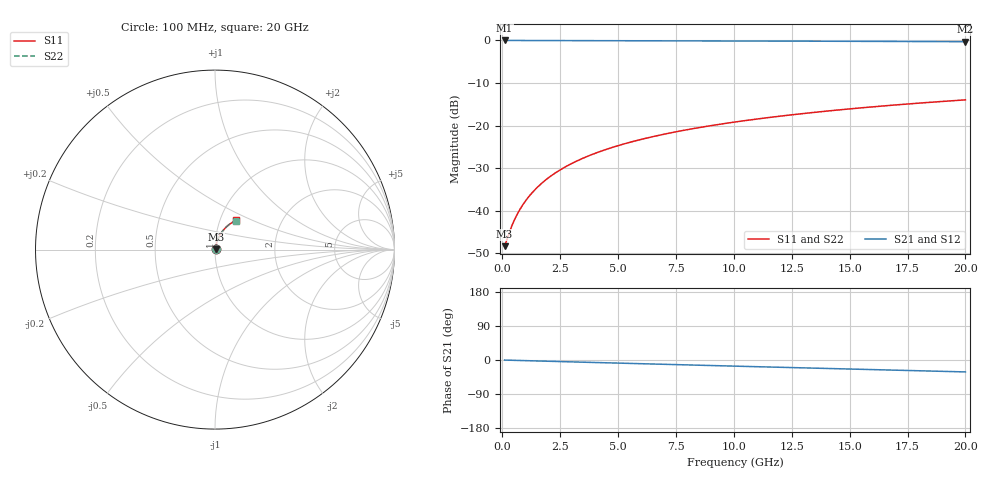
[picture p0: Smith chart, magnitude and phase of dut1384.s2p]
! Touchstone file exported from HFSS 2026.1.0
!  File:  C:/ffzhzh/LocalFiles/Ansys_Project_Files/temp_train_TMRDL_1384_1783166102_51560.aedt
!  Generated:  07:56:09 PM Jul  4, 2026
!  Design:  TMRDL
!  Project:  temp_train_TMRDL_1384_1783166102_51560
! Variables:
!  h_bsmrdl = 2um
!  h_ox = 20um
!  h_rdl = 5um
!  h_sub = 80um
!  h_tmrdl = 4.98um
!  h_tsv = 80um
!  h_via = 3um
!  l_bsmrdl = 300um
!  l_sub = 931.82um
!  l_tmrdl = 531.82um
!  m_sub = 200um
!  pitch = 20.56um
!  r_tsv = 6um
!  s_tmrdl = 10um
!  w_bsmrdl = 18um
!  w_sub = 500um
!  w_tmrdl = 10.75um
!  x_tsv_center1 = 537.195um
!  x_tsv_center2 = 855.195um
!  x_tsv_center3 = 1397.765um
!  x_tsv_center4 = 1715.765um
!  x_tsv_center5 = 2258.335um
!  x_tsv_center6 = 2576.335um
# GHz S MA R 50.000000
! Terminal data exported
! Port[1] = TM_RDL1_1_T1
! Port[2] = TM_RDL1_1_T2
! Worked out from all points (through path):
!   200 points, 100 MHz to 20 GHz, reference 50 ohm
!   highest |S21| = -0.03 dB at 100 MHz (marker M1); lowest = -0.3 dB at 20 GHz (marker M2)
!   group delay of S21, straight-line fit = 4.36 ps
!   lowest |S11| = -48.3 dB at 100 MHz (marker M3), VSWR 1.01, Z = 50.4 + j0.139 ohm
!   |S11| at or under -10 dB: start of sweep to end of sweep
!   |S22| runs from -48.3 to -14.0 dB; largest |S21 - S12| = 2.1e-15
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0.1  0.003842 21.1  0.9964 -0.2  0.9964 -0.2  0.003842 21.1
! Gamma 0 0 0 0
! Port Impedance 50 0 50 0
0.3  0.005538 45.5  0.9961 -0.5  0.9961 -0.5  0.005538 45.5
0.4  0.00654 52.0  0.996 -0.7  0.996 -0.7  0.00654 52.0
0.6  0.008625 60.2  0.9958 -1.0  0.9958 -1.0  0.008626 60.2
0.7  0.009699 63.0  0.9957 -1.2  0.9957 -1.2  0.009699 63.0
0.9  0.01189 67.1  0.9956 -1.5  0.9956 -1.5  0.01189 67.1
1.1  0.01413 69.8  0.9955 -1.9  0.9955 -1.9  0.01413 69.8
1.3  0.01641 71.7  0.9953 -2.2  0.9953 -2.2  0.01641 71.7
1.7  0.02099 74.0  0.995 -2.8  0.995 -2.8  0.02099 74.0
2.2  0.02675 75.3  0.9945 -3.7  0.9945 -3.7  0.02675 75.3
2.8  0.03362 75.8  0.9939 -4.7  0.9939 -4.7  0.03362 75.8
3.5  0.04154 75.7  0.993 -5.8  0.993 -5.8  0.04154 75.7
4.2  0.04934 75.2  0.9921 -6.9  0.9921 -6.9  0.04934 75.2
5  0.05809 74.4  0.9909 -8.2  0.9909 -8.2  0.0581 74.4
5.9  0.06775 73.3  0.9895 -9.7  0.9895 -9.7  0.06775 73.3
6.8  0.07721 72.2  0.988 -11.1  0.988 -11.1  0.07721 72.2
8.3  0.0926 70.2  0.9855 -13.5  0.9855 -13.5  0.09261 70.2
10.1  0.1105 67.8  0.9825 -16.3  0.9825 -16.3  0.1106 67.8
11.7  0.126 65.6  0.9797 -18.8  0.9797 -18.8  0.1261 65.6
13.4  0.1421 63.3  0.9766 -21.4  0.9766 -21.4  0.1421 63.2
16.7  0.172 58.7  0.9705 -26.5  0.9705 -26.5  0.1721 58.7
20  0.2001 54.1  0.964 -31.5  0.964 -31.5  0.2002 54.0
